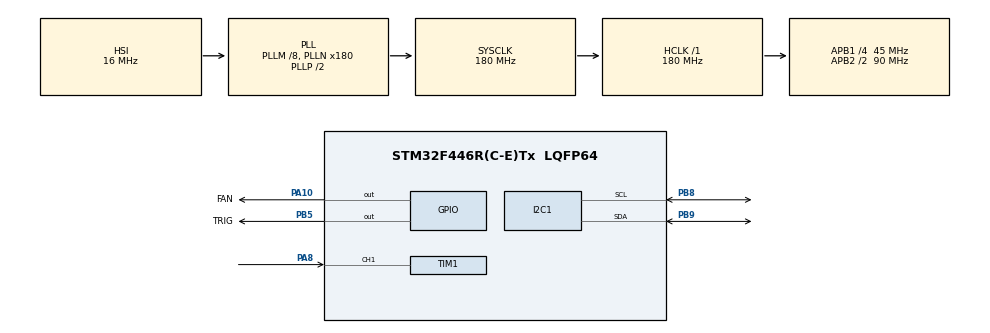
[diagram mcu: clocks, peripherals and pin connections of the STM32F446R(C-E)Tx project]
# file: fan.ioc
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I2C1.I2C_Mode=I2C_Fast
Mcu.Family=STM32F4
Mcu.Name=STM32F446R(C-E)Tx
Mcu.Package=LQFP64
NVIC.PriorityGroup=NVIC_PRIORITYGROUP_4
NVIC.TIM1_CC_IRQn=true\:0\:0\:false\:false\:true\:true\:true\:true
PA10.GPIO_Label=FAN
PA10.Signal=GPIO_Output
PA8.Signal=S_TIM1_CH1
PB5.GPIO_Label=TRIG
PB5.Signal=GPIO_Output
PB8.Mode=I2C
PB8.Signal=I2C1_SCL
PB9.Mode=I2C
PB9.Signal=I2C1_SDA
PH0-OSC_IN.Mode=HSE-External-Oscillator
PH0-OSC_IN.Signal=RCC_OSC_IN
PH1-OSC_OUT.Mode=HSE-External-Oscillator
PH1-OSC_OUT.Signal=RCC_OSC_OUT
ProjectManager.HeapSize=0x200
ProjectManager.StackSize=0x400
ProjectManager.TargetToolchain=STM32CubeIDE
RCC.AHBFreq_Value=180000000
RCC.APB1CLKDivider=RCC_HCLK_DIV4
RCC.APB1Freq_Value=45000000
RCC.APB1TimFreq_Value=90000000
RCC.APB2CLKDivider=RCC_HCLK_DIV2
RCC.APB2Freq_Value=90000000
RCC.APB2TimFreq_Value=180000000
RCC.CortexFreq_Value=180000000
RCC.HCLKFreq_Value=180000000
RCC.PLLM=8
RCC.PLLN=180
RCC.SYSCLKFreq_VALUE=180000000
RCC.SYSCLKSource=RCC_SYSCLKSOURCE_PLLCLK
RCC.USBFreq_Value=180000000
RCC.VCOOutputFreq_Value=360000000
SH.S_TIM1_CH1.0=TIM1_CH1,Input_Capture1_from_TI1
TIM1.AutoReloadPreload=TIM_AUTORELOAD_PRELOAD_ENABLE
TIM1.Channel-Input_Capture1_from_TI1=TIM_CHANNEL_1
TIM1.Prescaler=179
VP_TIM1_VS_ClockSourceINT.Mode=Internal
board=custom

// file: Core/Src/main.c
/* USER CODE BEGIN Header */
/**
  ******************************************************************************
  * @file           : main.c
  * @brief          : Fan Control - Ultrasonic (PA8/PB5), Fan (PA10), OLED (PB8/9)
  ******************************************************************************
  */
/* USER CODE END Header */
#include "main.h"

/* USER CODE BEGIN Includes */
#include <stdio.h>
#include "ssd1306.h"
#include "fonts.h"
/* USER CODE END Includes */

I2C_HandleTypeDef hi2c1;

TIM_HandleTypeDef htim1;

/* USER CODE BEGIN PV */
uint32_t p1 = 0, p2 = 0, diff = 0;
uint16_t distance = 0;
char buffer[32];
/* USER CODE END PV */

void SystemClock_Config(void);
static void MX_GPIO_Init(void);
static void MX_I2C1_Init(void);
static void MX_TIM1_Init(void);

int main(void)
{

  /* MCU Configuration--------------------------------------------------------*/

  /* Reset of all peripherals, Initializes the Flash interface and the Systick. */
  HAL_Init();

  /* Configure the system clock */
  SystemClock_Config();

  /* Initialize all configured peripherals */
  MX_GPIO_Init();
  MX_I2C1_Init();
  MX_TIM1_Init();
  /* USER CODE BEGIN 2 */
  SSD1306_Init();
  SSD1306_Fill(0);
  SSD1306_GotoXY(10, 10);
  SSD1306_Puts("FAN PROJECT", &Font_7x10, 1);
  SSD1306_UpdateScreen();
  HAL_Delay(1000);
  /* USER CODE END 2 */

  /* Infinite loop */
  /* USER CODE BEGIN WHILE */
  while (1)
  {
    /* 1. Trigger Pulse */
    HAL_GPIO_WritePin(TRIG_GPIO_Port, TRIG_Pin, GPIO_PIN_SET);
    HAL_Delay(1); // 10us pulse
    HAL_GPIO_WritePin(TRIG_GPIO_Port, TRIG_Pin, GPIO_PIN_RESET);

    /* 2. Enable Input Capture Interrupt */
    __HAL_TIM_ENABLE_IT(&htim1, TIM_IT_CC1);
    HAL_TIM_IC_Start_IT(&htim1, TIM_CHANNEL_1);

    HAL_Delay(100); // Measurement delay

    /* 3. Logic & OLED */
    SSD1306_Fill(0);

    sprintf(buffer, "Dist: %d cm", distance);
    SSD1306_GotoXY(5, 5);
    SSD1306_Puts(buffer, &Font_11x18, 1);

    if (distance > 0 && distance <= 20)
    {
        HAL_GPIO_WritePin(FAN_GPIO_Port, FAN_Pin, GPIO_PIN_SET);
        SSD1306_GotoXY(5, 35);
        SSD1306_Puts("FAN STATUS: ON ", &Font_7x10, 1);
    }
    else
    {
        HAL_GPIO_WritePin(FAN_GPIO_Port, FAN_Pin, GPIO_PIN_RESET);
        SSD1306_GotoXY(5, 35);
        SSD1306_Puts("FAN STATUS: OFF", &Font_7x10, 1);
    }

    SSD1306_UpdateScreen();
    HAL_Delay(100);

    /* USER CODE END WHILE */

  }
}

void SystemClock_Config(void)
{
  RCC_OscInitTypeDef RCC_OscInitStruct = {0};
  RCC_ClkInitTypeDef RCC_ClkInitStruct = {0};

  /** Configure the main internal regulator output voltage
  */
  __HAL_RCC_PWR_CLK_ENABLE();
  __HAL_PWR_VOLTAGESCALING_CONFIG(PWR_REGULATOR_VOLTAGE_SCALE1);

  /** Initializes the RCC Oscillators according to the specified parameters
  * in the RCC_OscInitTypeDef structure.
  */
  RCC_OscInitStruct.OscillatorType = RCC_OSCILLATORTYPE_HSI;
  RCC_OscInitStruct.HSIState = RCC_HSI_ON;
  RCC_OscInitStruct.HSICalibrationValue = RCC_HSICALIBRATION_DEFAULT;
  RCC_OscInitStruct.PLL.PLLState = RCC_PLL_ON;
  RCC_OscInitStruct.PLL.PLLSource = RCC_PLLSOURCE_HSI;
  RCC_OscInitStruct.PLL.PLLM = 8;
  RCC_OscInitStruct.PLL.PLLN = 180;
  RCC_OscInitStruct.PLL.PLLP = RCC_PLLP_DIV2;
  RCC_OscInitStruct.PLL.PLLQ = 2;
  RCC_OscInitStruct.PLL.PLLR = 2;
  if (HAL_RCC_OscConfig(&RCC_OscInitStruct) != HAL_OK)
  {
    Error_Handler();
  }

  /** Activate the Over-Drive mode
  */
  if (HAL_PWREx_EnableOverDrive() != HAL_OK)
  {
    Error_Handler();
  }

  /** Initializes the CPU, AHB and APB buses clocks
  */
  RCC_ClkInitStruct.ClockType = RCC_CLOCKTYPE_HCLK|RCC_CLOCKTYPE_SYSCLK
                              |RCC_CLOCKTYPE_PCLK1|RCC_CLOCKTYPE_PCLK2;
  RCC_ClkInitStruct.SYSCLKSource = RCC_SYSCLKSOURCE_PLLCLK;
  RCC_ClkInitStruct.AHBCLKDivider = RCC_SYSCLK_DIV1;
  RCC_ClkInitStruct.APB1CLKDivider = RCC_HCLK_DIV4;
  RCC_ClkInitStruct.APB2CLKDivider = RCC_HCLK_DIV2;

  if (HAL_RCC_ClockConfig(&RCC_ClkInitStruct, FLASH_LATENCY_5) != HAL_OK)
  {
    Error_Handler();
  }
}

static void MX_I2C1_Init(void)
{

  hi2c1.Instance = I2C1;
  hi2c1.Init.ClockSpeed = 400000;
  hi2c1.Init.DutyCycle = I2C_DUTYCYCLE_2;
  hi2c1.Init.OwnAddress1 = 0;
  hi2c1.Init.AddressingMode = I2C_ADDRESSINGMODE_7BIT;
  hi2c1.Init.DualAddressMode = I2C_DUALADDRESS_DISABLE;
  hi2c1.Init.OwnAddress2 = 0;
  hi2c1.Init.GeneralCallMode = I2C_GENERALCALL_DISABLE;
  hi2c1.Init.NoStretchMode = I2C_NOSTRETCH_DISABLE;
  if (HAL_I2C_Init(&hi2c1) != HAL_OK)
  {
    Error_Handler();
  }

}

static void MX_TIM1_Init(void)
{

  TIM_ClockConfigTypeDef sClockSourceConfig = {0};
  TIM_MasterConfigTypeDef sMasterConfig = {0};
  TIM_IC_InitTypeDef sConfigIC = {0};

  htim1.Instance = TIM1;
  htim1.Init.Prescaler = 179;
  htim1.Init.CounterMode = TIM_COUNTERMODE_UP;
  htim1.Init.Period = 65535;
  htim1.Init.ClockDivision = TIM_CLOCKDIVISION_DIV1;
  htim1.Init.RepetitionCounter = 0;
  htim1.Init.AutoReloadPreload = TIM_AUTORELOAD_PRELOAD_ENABLE;
  if (HAL_TIM_Base_Init(&htim1) != HAL_OK)
  {
    Error_Handler();
  }
  sClockSourceConfig.ClockSource = TIM_CLOCKSOURCE_INTERNAL;
  if (HAL_TIM_ConfigClockSource(&htim1, &sClockSourceConfig) != HAL_OK)
  {
    Error_Handler();
  }
  if (HAL_TIM_IC_Init(&htim1) != HAL_OK)
  {
    Error_Handler();
  }
  sMasterConfig.MasterOutputTrigger = TIM_TRGO_RESET;
  sMasterConfig.MasterSlaveMode = TIM_MASTERSLAVEMODE_DISABLE;
  if (HAL_TIMEx_MasterConfigSynchronization(&htim1, &sMasterConfig) != HAL_OK)
  {
    Error_Handler();
  }
  sConfigIC.ICPolarity = TIM_INPUTCHANNELPOLARITY_RISING;
  sConfigIC.ICSelection = TIM_ICSELECTION_DIRECTTI;
  sConfigIC.ICPrescaler = TIM_ICPSC_DIV1;
  sConfigIC.ICFilter = 0;
  if (HAL_TIM_IC_ConfigChannel(&htim1, &sConfigIC, TIM_CHANNEL_1) != HAL_OK)
  {
    Error_Handler();
  }

}

static void MX_GPIO_Init(void)
{
  GPIO_InitTypeDef GPIO_InitStruct = {0};

  /* GPIO Ports Clock Enable */
  __HAL_RCC_GPIOH_CLK_ENABLE();
  __HAL_RCC_GPIOA_CLK_ENABLE();
  __HAL_RCC_GPIOB_CLK_ENABLE();

  /*Configure GPIO pin Output Level */
  HAL_GPIO_WritePin(FAN_GPIO_Port, FAN_Pin, GPIO_PIN_RESET);

  /*Configure GPIO pin Output Level */
  HAL_GPIO_WritePin(TRIG_GPIO_Port, TRIG_Pin, GPIO_PIN_RESET);

  /*Configure GPIO pin : FAN_Pin */
  GPIO_InitStruct.Pin = FAN_Pin;
  GPIO_InitStruct.Mode = GPIO_MODE_OUTPUT_PP;
  GPIO_InitStruct.Pull = GPIO_NOPULL;
  GPIO_InitStruct.Speed = GPIO_SPEED_FREQ_LOW;
  HAL_GPIO_Init(FAN_GPIO_Port, &GPIO_InitStruct);

  /*Configure GPIO pin : TRIG_Pin */
  GPIO_InitStruct.Pin = TRIG_Pin;
  GPIO_InitStruct.Mode = GPIO_MODE_OUTPUT_PP;
  GPIO_InitStruct.Pull = GPIO_NOPULL;
  GPIO_InitStruct.Speed = GPIO_SPEED_FREQ_LOW;
  HAL_GPIO_Init(TRIG_GPIO_Port, &GPIO_InitStruct);

}

/* USER CODE BEGIN 4 */
void HAL_TIM_IC_CaptureCallback(TIM_HandleTypeDef *htim)
{
    if (htim->Instance == TIM1)
    {
        if (HAL_GPIO_ReadPin(GPIOA, GPIO_PIN_8) == GPIO_PIN_SET) // Echo Pin PA8
        {
            p1 = HAL_TIM_ReadCapturedValue(htim, TIM_CHANNEL_1);
            __HAL_TIM_SET_CAPTUREPOLARITY(htim, TIM_CHANNEL_1, TIM_INPUTCHANNELPOLARITY_FALLING);
        }
        else if (HAL_GPIO_ReadPin(GPIOA, GPIO_PIN_8) == GPIO_PIN_RESET)
        {
            p2 = HAL_TIM_ReadCapturedValue(htim, TIM_CHANNEL_1);

            if (p2 > p1) diff = p2 - p1;
            else diff = (0xFFFF - p1) + p2;

            distance = diff * 0.034 / 2;
            __HAL_TIM_SET_CAPTUREPOLARITY(htim, TIM_CHANNEL_1, TIM_INPUTCHANNELPOLARITY_RISING);
            __HAL_TIM_DISABLE_IT(htim, TIM_IT_CC1);
            HAL_TIM_IC_Stop_IT(htim, TIM_CHANNEL_1);
        }
    }
}
/* USER CODE END 4 */

void Error_Handler(void)
{
  __disable_irq();
  while (1)
  {
  }
}
